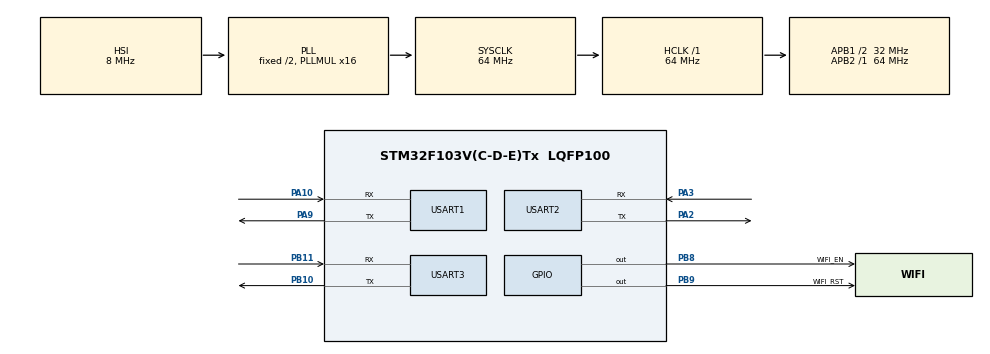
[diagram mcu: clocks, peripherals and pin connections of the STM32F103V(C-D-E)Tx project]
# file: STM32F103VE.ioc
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Dma.Request0=USART3_RX
Dma.Request1=USART3_TX
Dma.Request2=USART1_RX
Dma.Request3=USART1_TX
Dma.Request4=USART2_RX
Dma.Request5=USART2_TX
Dma.USART1_RX.2.Direction=DMA_PERIPH_TO_MEMORY
Dma.USART1_RX.2.Instance=DMA1_Channel5
Dma.USART1_RX.2.MemDataAlignment=DMA_MDATAALIGN_BYTE
Dma.USART1_RX.2.MemInc=DMA_MINC_ENABLE
Dma.USART1_RX.2.Mode=DMA_CIRCULAR
Dma.USART1_RX.2.PeriphDataAlignment=DMA_PDATAALIGN_BYTE
Dma.USART1_RX.2.PeriphInc=DMA_PINC_DISABLE
Dma.USART1_RX.2.Priority=DMA_PRIORITY_LOW
Dma.USART1_TX.3.Direction=DMA_MEMORY_TO_PERIPH
Dma.USART1_TX.3.Instance=DMA1_Channel4
Dma.USART1_TX.3.MemDataAlignment=DMA_MDATAALIGN_BYTE
Dma.USART1_TX.3.MemInc=DMA_MINC_ENABLE
Dma.USART1_TX.3.Mode=DMA_NORMAL
Dma.USART1_TX.3.PeriphDataAlignment=DMA_PDATAALIGN_BYTE
Dma.USART1_TX.3.PeriphInc=DMA_PINC_DISABLE
Dma.USART1_TX.3.Priority=DMA_PRIORITY_LOW
Dma.USART2_RX.4.Direction=DMA_PERIPH_TO_MEMORY
Dma.USART2_RX.4.Instance=DMA1_Channel6
Dma.USART2_RX.4.MemDataAlignment=DMA_MDATAALIGN_BYTE
Dma.USART2_RX.4.MemInc=DMA_MINC_ENABLE
Dma.USART2_RX.4.Mode=DMA_CIRCULAR
Dma.USART2_RX.4.PeriphDataAlignment=DMA_PDATAALIGN_BYTE
Dma.USART2_RX.4.PeriphInc=DMA_PINC_DISABLE
Dma.USART2_RX.4.Priority=DMA_PRIORITY_LOW
Dma.USART2_TX.5.Direction=DMA_MEMORY_TO_PERIPH
Dma.USART2_TX.5.Instance=DMA1_Channel7
Dma.USART2_TX.5.MemDataAlignment=DMA_MDATAALIGN_BYTE
Dma.USART2_TX.5.MemInc=DMA_MINC_ENABLE
Dma.USART2_TX.5.Mode=DMA_NORMAL
Dma.USART2_TX.5.PeriphDataAlignment=DMA_PDATAALIGN_BYTE
Dma.USART2_TX.5.PeriphInc=DMA_PINC_DISABLE
Dma.USART2_TX.5.Priority=DMA_PRIORITY_LOW
Dma.USART3_RX.0.Direction=DMA_PERIPH_TO_MEMORY
Dma.USART3_RX.0.Instance=DMA1_Channel3
Dma.USART3_RX.0.MemDataAlignment=DMA_MDATAALIGN_BYTE
Dma.USART3_RX.0.MemInc=DMA_MINC_ENABLE
Dma.USART3_RX.0.Mode=DMA_CIRCULAR
Dma.USART3_RX.0.PeriphDataAlignment=DMA_PDATAALIGN_BYTE
Dma.USART3_RX.0.PeriphInc=DMA_PINC_DISABLE
Dma.USART3_RX.0.Priority=DMA_PRIORITY_LOW
Dma.USART3_TX.1.Direction=DMA_MEMORY_TO_PERIPH
Dma.USART3_TX.1.Instance=DMA1_Channel2
Dma.USART3_TX.1.MemDataAlignment=DMA_MDATAALIGN_BYTE
Dma.USART3_TX.1.MemInc=DMA_MINC_ENABLE
Dma.USART3_TX.1.Mode=DMA_NORMAL
Dma.USART3_TX.1.PeriphDataAlignment=DMA_PDATAALIGN_BYTE
Dma.USART3_TX.1.PeriphInc=DMA_PINC_DISABLE
Dma.USART3_TX.1.Priority=DMA_PRIORITY_LOW
FREERTOS.Tasks01=defaultTask,0,128,StartDefaultTask,Default,NULL,Dynamic,NULL,NULL
FREERTOS.configTOTAL_HEAP_SIZE=4096
Mcu.Family=STM32F1
Mcu.Name=STM32F103V(C-D-E)Tx
Mcu.Package=LQFP100
NVIC.DMA1_Channel2_IRQn=true\:5\:0\:false\:false\:true\:true\:false\:true\:true
NVIC.DMA1_Channel3_IRQn=true\:5\:0\:false\:false\:true\:true\:false\:true\:true
NVIC.DMA1_Channel4_IRQn=true\:5\:0\:false\:false\:true\:true\:false\:true\:true
NVIC.DMA1_Channel5_IRQn=true\:5\:0\:false\:false\:true\:true\:false\:true\:true
NVIC.DMA1_Channel6_IRQn=true\:5\:0\:false\:false\:true\:true\:false\:true\:true
NVIC.DMA1_Channel7_IRQn=true\:5\:0\:false\:false\:true\:true\:false\:true\:true
NVIC.PriorityGroup=NVIC_PRIORITYGROUP_4
NVIC.TIM2_IRQn=true\:5\:0\:false\:false\:true\:true\:true\:true\:true
NVIC.TIM8_UP_IRQn=true\:15\:0\:false\:false\:true\:false\:false\:true\:true
NVIC.TimeBase=TIM8_UP_IRQn
NVIC.TimeBaseIP=TIM8
NVIC.USART1_IRQn=true\:5\:0\:false\:false\:true\:true\:true\:true\:true
NVIC.USART2_IRQn=true\:5\:0\:false\:false\:true\:true\:true\:true\:true
NVIC.USART3_IRQn=true\:5\:0\:false\:false\:true\:true\:true\:true\:true
PA0-WKUP.Mode=SYS_WakeUp0
PA0-WKUP.Signal=SYS_WKUP
PA10.Mode=Asynchronous
PA10.Signal=USART1_RX
PA13.Mode=Serial_Wire
PA13.Signal=SYS_JTMS-SWDIO
PA14.Mode=Serial_Wire
PA14.Signal=SYS_JTCK-SWCLK
PA2.Mode=Asynchronous
PA2.Signal=USART2_TX
PA3.Mode=Asynchronous
PA3.Signal=USART2_RX
PA9.Mode=Asynchronous
PA9.Signal=USART1_TX
PB10.Mode=Asynchronous
PB10.Signal=USART3_TX
PB11.Mode=Asynchronous
PB11.Signal=USART3_RX
PB8.GPIO_Label=WIFI_EN
PB8.GPIO_ModeDefaultOutputPP=GPIO_MODE_OUTPUT_PP
PB8.GPIO_PuPd=GPIO_PULLUP
PB8.PinState=GPIO_PIN_SET
PB8.Signal=GPIO_Output
PB9.GPIO_Label=WIFI_RST
PB9.Signal=GPIO_Output
ProjectManager.HeapSize=0x200
ProjectManager.StackSize=0x400
ProjectManager.TargetToolchain=MDK-ARM V5.32
RCC.AHBFreq_Value=64000000
RCC.APB1CLKDivider=RCC_HCLK_DIV2
RCC.APB1Freq_Value=32000000
RCC.APB1TimFreq_Value=64000000
RCC.APB2Freq_Value=64000000
RCC.APB2TimFreq_Value=64000000
RCC.HCLKFreq_Value=64000000
RCC.PLLMUL=RCC_PLL_MUL16
RCC.SYSCLKFreq_VALUE=64000000
RCC.SYSCLKSource=RCC_SYSCLKSOURCE_PLLCLK
RCC.USBFreq_Value=64000000
TIM2.Period=1000
TIM2.Prescaler=64000
USART1.VirtualMode=VM_ASYNC
USART2.VirtualMode=VM_ASYNC
USART3.VirtualMode=VM_ASYNC
VP_FREERTOS_VS_CMSIS_V1.Mode=CMSIS_V1
VP_SYS_VS_tim8.Mode=TIM8
VP_TIM2_VS_ClockSourceINT.Mode=Internal
board=custom

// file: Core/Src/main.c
/* USER CODE BEGIN Header */
/**
  ******************************************************************************
  * @file           : main.c
  * @brief          : Main program body
  ******************************************************************************
  * @attention
  *
  * Copyright (c) 2023 STMicroelectronics.
  * All rights reserved.
  *
  * This software is licensed under terms that can be found in the LICENSE file
  * in the root directory of this software component.
  * If no LICENSE file comes with this software, it is provided AS-IS.
  *
  ******************************************************************************
  */
/* USER CODE END Header */
#include "main.h"
#include "cmsis_os.h"
#include "dma.h"
#include "tim.h"
#include "usart.h"
#include "gpio.h"

/* USER CODE BEGIN Includes */
#include "../common.h"
/* USER CODE END Includes */

void SystemClock_Config(void);
void MX_FREERTOS_Init(void);

int main(void)
{

  /* MCU Configuration--------------------------------------------------------*/

  /* Reset of all peripherals, Initializes the Flash interface and the Systick. */
  HAL_Init();

  /* Configure the system clock */
  SystemClock_Config();

  /* Initialize all configured peripherals */
  MX_GPIO_Init();
  MX_DMA_Init();
  MX_USART1_UART_Init();
  MX_USART3_UART_Init();
  MX_USART2_UART_Init();
  MX_TIM2_Init();

  /* Call init function for freertos objects (in freertos.c) */
  MX_FREERTOS_Init();

  /* Start scheduler */
  osKernelStart();

  /* We should never get here as control is now taken by the scheduler */
  /* Infinite loop */
  while (1)
  {

  }
}

void SystemClock_Config(void)
{
  RCC_OscInitTypeDef RCC_OscInitStruct = {0};
  RCC_ClkInitTypeDef RCC_ClkInitStruct = {0};

  /** Initializes the RCC Oscillators according to the specified parameters
  * in the RCC_OscInitTypeDef structure.
  */
  RCC_OscInitStruct.OscillatorType = RCC_OSCILLATORTYPE_HSI;
  RCC_OscInitStruct.HSIState = RCC_HSI_ON;
  RCC_OscInitStruct.HSICalibrationValue = RCC_HSICALIBRATION_DEFAULT;
  RCC_OscInitStruct.PLL.PLLState = RCC_PLL_ON;
  RCC_OscInitStruct.PLL.PLLSource = RCC_PLLSOURCE_HSI_DIV2;
  RCC_OscInitStruct.PLL.PLLMUL = RCC_PLL_MUL16;
  if (HAL_RCC_OscConfig(&RCC_OscInitStruct) != HAL_OK)
  {
    Error_Handler();
  }

  /** Initializes the CPU, AHB and APB buses clocks
  */
  RCC_ClkInitStruct.ClockType = RCC_CLOCKTYPE_HCLK|RCC_CLOCKTYPE_SYSCLK
                              |RCC_CLOCKTYPE_PCLK1|RCC_CLOCKTYPE_PCLK2;
  RCC_ClkInitStruct.SYSCLKSource = RCC_SYSCLKSOURCE_PLLCLK;
  RCC_ClkInitStruct.AHBCLKDivider = RCC_SYSCLK_DIV1;
  RCC_ClkInitStruct.APB1CLKDivider = RCC_HCLK_DIV2;
  RCC_ClkInitStruct.APB2CLKDivider = RCC_HCLK_DIV1;

  if (HAL_RCC_ClockConfig(&RCC_ClkInitStruct, FLASH_LATENCY_2) != HAL_OK)
  {
    Error_Handler();
  }
}

void HAL_TIM_PeriodElapsedCallback(TIM_HandleTypeDef *htim)
{
  /* USER CODE BEGIN Callback 0 */
	BaseType_t phpt;
  /* USER CODE END Callback 0 */
  if (htim->Instance == TIM2) {
    //HAL_IncTick();
		//1s中断一次
		w_str.heartBeatTime++;
		if ( w_str.heartBeatTime%5 == 0 ) {
			//发送心跳

		}
  }
}

void Error_Handler(void)
{
  __disable_irq();
  while (1)
  {
  }
}

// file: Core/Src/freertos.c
/* USER CODE BEGIN Header */
/**
  ******************************************************************************
  * File Name          : freertos.c
  * Description        : Code for freertos applications
  ******************************************************************************
  * @attention
  *
  * Copyright (c) 2023 STMicroelectronics.
  * All rights reserved.
  *
  * This software is licensed under terms that can be found in the LICENSE file
  * in the root directory of this software component.
  * If no LICENSE file comes with this software, it is provided AS-IS.
  *
  ******************************************************************************
  */
/* USER CODE END Header */

#include "FreeRTOS.h"
#include "task.h"
#include "main.h"
#include "cmsis_os.h"

/* USER CODE BEGIN Includes */
#include "../common.h"
/* USER CODE END Includes */

/* USER CODE BEGIN Variables */
TaskHandle_t Debug_TaskHandle;
TaskHandle_t wifi_control_taskHandle;
TaskHandle_t wifi_tcp_connect_taskHandle;

QueueHandle_t TcpData_QueueHandle;//数据消息队列
QueueHandle_t Mqtt_Ask_And_Heartbeat_QueueHandle;//mqtt应答以及心跳消息队列

//QueueHandle_t communication_Mutex;//信号�?,�?通道多tcp,隔离回话信号�?
QueueHandle_t TcpRxCache_Mutex;//获取接收缓存空间信号�?
//QueueHandle_t TcpTxCache_Mutex;//获取发�?�缓存空间信号量
QueueHandle_t TxSend_Mutex;//发�?�数据信号量
/* USER CODE END Variables */
osThreadId defaultTaskHandle;

/* USER CODE BEGIN FunctionPrototypes */
void Debug_TaskHandleFun(void const * argument);
void wifi_control_task_fun(void const * argument);
void wifi_tcp_connect_task_fun(void const * argument);

/* USER CODE END FunctionPrototypes */

void StartDefaultTask(void const * argument);

void MX_FREERTOS_Init(void); /* (MISRA C 2004 rule 8.1) */

/* GetIdleTaskMemory prototype (linked to static allocation support) */
void vApplicationGetIdleTaskMemory( StaticTask_t **ppxIdleTaskTCBBuffer, StackType_t **ppxIdleTaskStackBuffer, uint32_t *pulIdleTaskStackSize );

/* USER CODE BEGIN GET_IDLE_TASK_MEMORY */
static StaticTask_t xIdleTaskTCBBuffer;
static StackType_t xIdleStack[configMINIMAL_STACK_SIZE];

void vApplicationGetIdleTaskMemory( StaticTask_t **ppxIdleTaskTCBBuffer, StackType_t **ppxIdleTaskStackBuffer, uint32_t *pulIdleTaskStackSize )
{
  *ppxIdleTaskTCBBuffer = &xIdleTaskTCBBuffer;
  *ppxIdleTaskStackBuffer = &xIdleStack[0];
  *pulIdleTaskStackSize = configMINIMAL_STACK_SIZE;
  /* place for user code */
}
/* USER CODE END GET_IDLE_TASK_MEMORY */

void MX_FREERTOS_Init(void) {

  /* USER CODE BEGIN RTOS_QUEUES */
  /* add queues, ... */
	//communication_Mutex = xSemaphoreCreateMutex();//接收数据和AT指令抢占的信号量
	//xSemaphoreGive( communication_Mutex );
	TcpRxCache_Mutex = xSemaphoreCreateMutex();//获取发�?�缓存空间信号量
	xSemaphoreGive( TcpRxCache_Mutex );
	TxSend_Mutex = xSemaphoreCreateMutex();//发�?�数据信号量
	xSemaphoreGive( TxSend_Mutex );
	//TcpRxCache_QueueHandle = xSemaphoreCreateMutex();//获取接收缓存空间信号�?
	//xSemaphoreGive( TcpRxCache_QueueHandle );

  TcpData_QueueHandle = xQueueCreate( 2,  sizeof( TCP_DATA* ) );
	Mqtt_Ask_And_Heartbeat_QueueHandle = xQueueCreate( 6, 4 );//mqtt应答以及心跳消息队列
  /* USER CODE END RTOS_QUEUES */

  /* Create the thread(s) */
  /* definition and creation of defaultTask */
  osThreadDef(defaultTask, StartDefaultTask, osPriorityNormal, 0, 128);
  defaultTaskHandle = osThreadCreate(osThread(defaultTask), NULL);

  /* USER CODE BEGIN RTOS_THREADS */
  /* add threads, ... */
	//Debug
	osThreadDef(Debug_Task, Debug_TaskHandleFun, osPriorityNormal, 0, Debug_TaskSize);
  Debug_TaskHandle = osThreadCreate(osThread(Debug_Task), NULL);
	//wifi Control
	osThreadDef(wifi_control_task, wifi_control_task_fun, osPriorityNormal, 0, wifi_control_taskSize);
  wifi_control_taskHandle = osThreadCreate(osThread(wifi_control_task), NULL);
	//wifi connect
	osThreadDef(wifi_tcp_connect_task, wifi_tcp_connect_task_fun, osPriorityNormal, 0, wifi_tcp_connect_taskSize);
  wifi_tcp_connect_taskHandle = osThreadCreate(osThread(wifi_tcp_connect_task), NULL);

  /* USER CODE END RTOS_THREADS */

}

void StartDefaultTask(void const * argument)
{
  /* USER CODE BEGIN StartDefaultTask */
  /* Infinite loop */
  for(;;)
  {
		debug_init();
		printf("init");
		xTaskNotify( wifi_control_taskHandle, 1U<<WIFI_DEVICE_INIT, eSetBits );
		vTaskDelete( defaultTaskHandle );
  }
  /* USER CODE END StartDefaultTask */
}

/* USER CODE BEGIN Application */
void Debug_TaskHandleFun(void const * argument) {
	uint32_t newBits, oldBits = 0;
  for(;;) {
		xTaskNotifyWait( pdFALSE, portMAX_DELAY, &newBits, portMAX_DELAY );
		oldBits |= newBits;
		if ( oldBits & (1U<<DEBUG_DEVICE_INIT) ) {
			oldBits &=~ (1U<<DEBUG_DEVICE_INIT);
			debug_init();
		}
    if ( oldBits & (1U<<DEBUG_PARSE_DATA) ) {
			oldBits &=~ (1U<<DEBUG_PARSE_DATA);
			debug_parse_data_fun();
		}
		if ( oldBits & (1U<<DEBUG_SEND_OK) ) {
			oldBits &=~ (1U<<DEBUG_SEND_OK);
		}
  }
}

/*--------------- WIFI ----------------*/
void wifi_control_task_fun(void const * argument) {
	uint32_t newBits, oldBits = 0;
  for(;;) {
		xTaskNotifyWait( pdFALSE, portMAX_DELAY, &newBits, portMAX_DELAY );
		oldBits |= newBits;
		if ( oldBits & (1U<<WIFI_DEVICE_INIT) ) {
			oldBits &=~ (1U<<WIFI_DEVICE_INIT);
			wifi_init();
		}
		if ( oldBits & (1U<<WIFI_CONNECT_TCP0_) ) {
			oldBits &=~ (1U<<WIFI_CONNECT_TCP0_);
			esp_connect_tcp0();
		}
		if ( oldBits & (1U<<WIFI_CONNECT_TCP1_) ) {
			oldBits &=~ (1U<<WIFI_CONNECT_TCP1_);
			esp_connect_tcp1();
		}
    if ( oldBits & (1U<<WIFI_PARSE_DATA) ) {
			oldBits &=~ (1U<<WIFI_PARSE_DATA);
			wifi_mqtt_data_parse();
		}
		if ( oldBits & (1U<<WIFI_TCP0_SEND) ) {
			oldBits &=~ (1U<<WIFI_TCP0_SEND);
			wifi_tcp0_send_data();
		}
		if ( oldBits & (1U<<WIFI_SEND_HEART) ) {
			oldBits &=~ (1U<<WIFI_SEND_HEART);
			wifi_mqtt_heart();
		}
		if ( oldBits & (1U<<WIFI_SEND_OK) ) {
			oldBits &=~ (1U<<WIFI_SEND_OK);
		}
  }
}
void wifi_tcp_connect_task_fun(void const * argument) {
	uint32_t newBits, oldBits = 0;
  for(;;) {
		xTaskNotifyWait( pdFALSE, portMAX_DELAY, &newBits, portMAX_DELAY );
		oldBits |= newBits;
		if ( oldBits & (1U<<WIFI_CONNECT_TCP0_DELAY) ) {
			oldBits &=~ (1U<<WIFI_CONNECT_TCP0_DELAY);
			vTaskDelay(5000);
			esp_connect_tcp0();
		}
		if ( oldBits & (1U<<WIFI_CONNECT_TCP1_DELAY) ) {
			oldBits &=~ (1U<<WIFI_CONNECT_TCP1_DELAY);
			vTaskDelay(5000);
			esp_connect_tcp1();
		}
  }
}
/*--------------- WIFI ----------------*/

/* USER CODE END Application */
